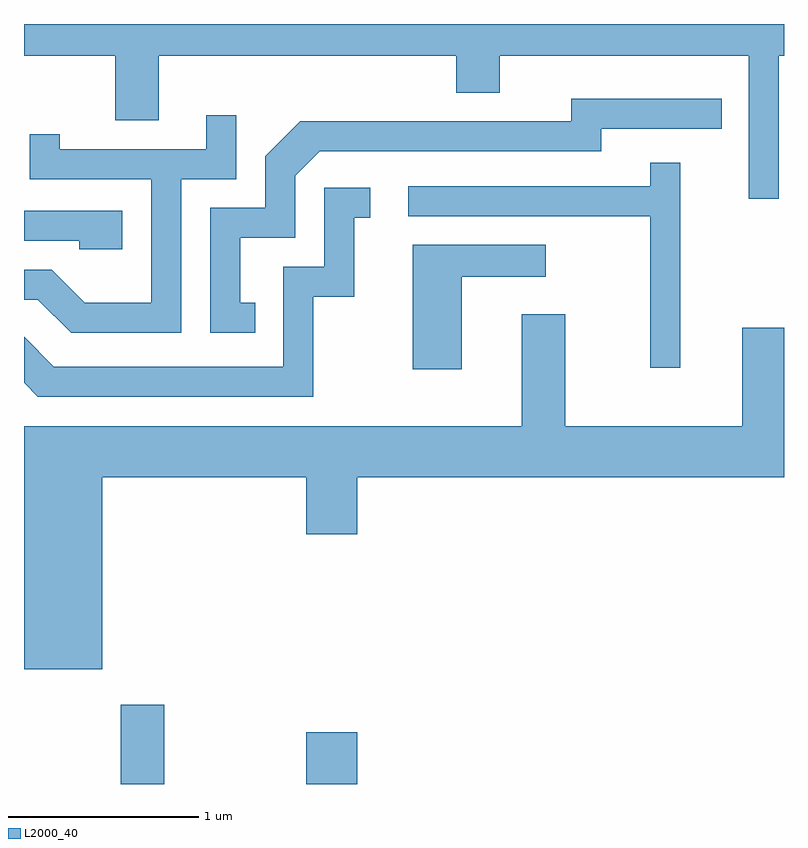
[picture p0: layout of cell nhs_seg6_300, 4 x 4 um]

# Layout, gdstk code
import gdstk
lib = gdstk.Library(unit=1e-6, precision=1e-09)
def R(c, l, rs):  # rectangles x0, y0, x1, y1
    for r in rs: c.add(gdstk.rectangle(r[:2], r[2:], *l))
def P(c, l, *ps):  # polygons
    for p in ps: c.add(gdstk.Polygon(p, *l))
L2000_40 = (2000, 40)

nhs_seg6_300 = lib.new_cell('nhs_seg6_300')
R(nhs_seg6_300, L2000_40, [(194.121,1586.162,194.349,1586.579), (195.096,1586.162,195.364,1586.434)])
P(nhs_seg6_300, L2000_40, [(197.584,1589.996),(197.611,1589.996),(197.611,1590.162),(193.611,1590.162),(193.611,1589.996),(194.091,1589.996),(194.091,1589.656),(194.319,1589.656),(194.319,1589.996),(195.886,1589.996),(195.886,1589.801),(196.114,1589.801),(196.114,1589.996),(197.426,1589.996),(197.426,1589.243),(197.584,1589.243)],
  [(194.828,1588.694),(194.749,1588.694),(194.749,1589.036),(195.039,1589.036),(195.039,1589.364),(195.167,1589.491),(196.649,1589.491),(196.649,1589.611),(197.283,1589.611),(197.283,1589.769),(196.491,1589.769),(196.491,1589.649),(195.064,1589.649),(194.881,1589.467),(194.881,1589.194),(194.591,1589.194),(194.591,1588.536),(194.828,1588.536)],
  [(194.439,1589.346),(194.729,1589.346),(194.729,1589.683),(194.571,1589.683),(194.571,1589.504),(193.799,1589.504),(193.799,1589.583),(193.641,1589.583),(193.641,1589.346),(194.281,1589.346),(194.281,1588.694),(193.932,1588.694),(193.757,1588.869),(193.611,1588.869),(193.611,1588.711),(193.684,1588.711),(193.859,1588.536),(194.439,1588.536)],
  [(197.064,1589.433),(196.906,1589.433),(196.906,1589.309),(195.633,1589.309),(195.633,1589.151),(196.906,1589.151),(196.906,1588.353),(197.064,1588.353)],
  [(195.134,1588.726),(195.349,1588.726),(195.349,1589.141),(195.433,1589.141),(195.433,1589.299),(195.191,1589.299),(195.191,1588.884),(194.976,1588.884),(194.976,1588.359),(193.767,1588.359),(193.611,1588.515),(193.611,1588.274),(193.684,1588.201),(195.134,1588.201)],
  [(194.129,1589.179),(193.611,1589.179),(193.611,1589.021),(193.901,1589.021),(193.901,1588.976),(194.129,1588.976)],
  [(195.914,1588.831),(196.358,1588.831),(196.358,1588.999),(195.656,1588.999),(195.656,1588.346),(195.914,1588.346)],
  [(194.024,1587.776),(195.096,1587.776),(195.096,1587.476),(195.364,1587.476),(195.364,1587.776),(197.611,1587.776),(197.611,1588.564),(197.391,1588.564),(197.391,1588.044),(196.459,1588.044),(196.459,1588.634),(196.231,1588.634),(196.231,1588.044),(193.611,1588.044),(193.611,1586.766),(194.024,1586.766)])

lib.write_gds('nhs_seg6_300.gds')
